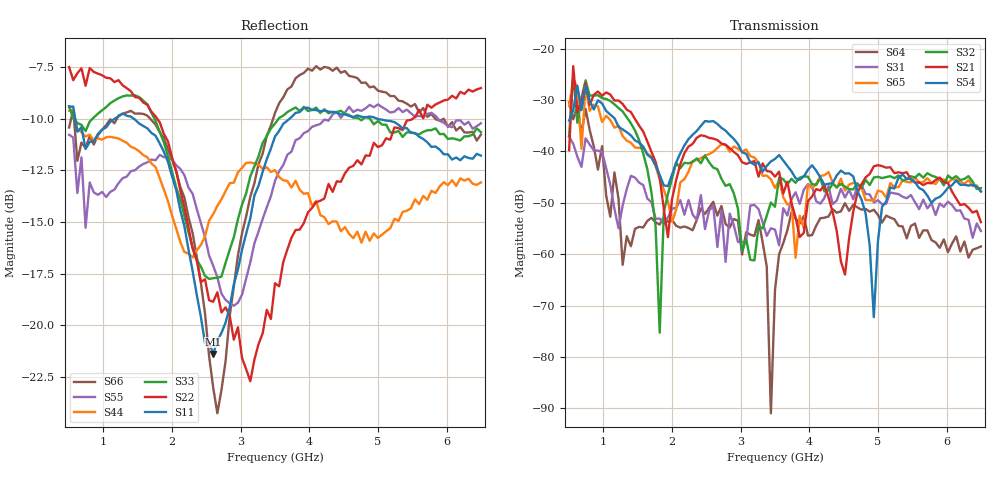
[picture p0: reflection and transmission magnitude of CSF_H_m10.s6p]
!Keysight Technologies,M9804A,MY58100912,A.14.10.03
!Date: Thursday, April 27, 2023 10:28:33
!Correction: S11(C  6-Port  )
!S12(C  6-Port  )
!S13(C  6-Port  )
!S14(C  6-Port  )
!S15(C  6-Port  )
!S16(C  6-Port  )
!S21(C  6-Port  )
!S22(C  6-Port  )
!S23(C  6-Port  )
!S24(C  6-Port  )
!S25(C  6-Port  )
!S26(C  6-Port  )
!S31(C  6-Port  )
!S32(C  6-Port  )
!S33(C  6-Port  )
!S34(C  6-Port  )
!S35(C  6-Port  )
!S36(C  6-Port  )
!S41(C  6-Port  )
!S42(C  6-Port  )
!S43(C  6-Port  )
!S44(C  6-Port  )
!S45(C  6-Port  )
!S46(C  6-Port  )
!S51(C  6-Port  )
!S52(C  6-Port  )
!S53(C  6-Port  )
!S54(C  6-Port  )
!S55(C  6-Port  )
!S56(C  6-Port  )
!S61(C  6-Port  )
!S62(C  6-Port  )
!S63(C  6-Port  )
!S64(C  6-Port  )
!S65(C  6-Port  )
!S66(C  6-Port  )
!S6P File: Measurement: :
# Hz S  RI  R 50
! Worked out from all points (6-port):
!   101 points, 500 MHz to 6.5 GHz, reference 50 ohm
!   strongest paths, dB at 500 MHz, 2 GHz, 3.5 GHz, 5 GHz, 6.5 GHz:
!     S54: -34.0, -44.5, -41.5, -57.5, -47.8
!     S21: -39.8, -49.3, -44.9, -42.7, -53.8
!     S32: -37.0, -45.3, -50.8, -44.9, -47.2
!     S65: -31.2, -53.7, -47.1, -47.6, -47.8
!     S31: -37.2, -51.1, -55.2, -49.5, -55.5
!     S64: -30.4, -53.3, -67.0, -52.4, -58.5
!   lowest |S11| = -21.4 dB at 2.6 GHz (marker M1), VSWR 1.19, Z = 42.4 + j2.2 ohm
!   |S11| at or under -10 dB: 588.8 MHz to 1.165 GHz (576.3 MHz wide, 65.7 % of centre); 1.44 GHz to 3.714 GHz (2.274 GHz wide, 88.2 % of centre); 4.985 GHz to end of sweep
